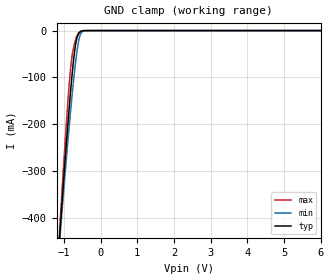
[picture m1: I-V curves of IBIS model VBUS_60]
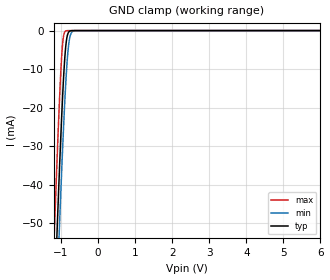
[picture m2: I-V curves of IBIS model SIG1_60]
| TEXAS INSTRUMENTS INCORPORATED
| Standard Linear and Logic Group
| IBIS Model of TPD4S012
| I2C Translator
| This file contains package information for the following:
|  WCSP 6-pin (YFP) package as [Component] TPD4S012_YFP
|  uQFN 6-pin (DRY) package as [Component] TPD4S012_DRY
| This device can be powered at the following Vccs:
|  6 volt Vcc
| This file provides unique models under the [Model Selector] for each Vcc.
| For operation at a specific Vcc, select the appropriate model after each
| [Model Selector] keyword.
[IBIS Ver]   3.2
[Comment char]  |_char
[File Name]   tpd4s012.ibs
[File Rev]   0 | A0
[Date]   April 22, 2010
[Source]   Data created from TI-SPICE simulations at TI-SLL.
[Notes]   The following is an IBIS list for the TPD4S012.
   Please contact sllibis@ti.com with questions and
   comments concerning SLL IBIS models.
   - Release IBIS file on 4/26/10
   - Power-clamp data has been deleted since there is no
   power-clamp diode in the device.
[Disclaimer] This model is designed as an aid for customers of Texas Instruments.
TI and its licensors and suppliers make no warranties, either expressed
or implied, with respect to this  model, including the warranties of.
merchantability or fitness for a particular purpose..
The model is provided solely on an "as is" basis. The entire risk as to
its quality and performance is with the customer..........
[Copyright] (C)Copyright 2009 Texas Instruments Incorporated..
   All rights reserved.
| Component TPD4S012_DCK 6-PIN SOT
[Component]   TPD4S012_YFP
[Manufacturer]   Texas Instruments, Inc.
[Package]
|   typ   min   max
R_pkg   3.998e-02   2.764e-03   3.160e-01
L_pkg   2.482e-10   2.374e-11   9.494e-10
C_pkg   2.295e-13   1.530e-14   4.331e-13
[Pin]   signal_name   model_name   R_pin   L_pin   C_pin
1   DP   SIG1_60   1.300e-03   1.140e-10   1.960e-13
2   DM   SIG1_60   2.100e-03   1.163e-09   2.050e-13
3   ID   SIG1_60   1.100e-03   1.180e-10   1.970e-13
4   GND   GND   1.300e-03   1.140e-10   1.900e-13
5   NC   NC   1.500e-03   1.140e-10   1.670e-13
6   VBUS   VBUS_60   1.200e-03   1.160e-10   1.950e-13
| Component TPD4S012_DRY 6-PIN UQFN
[Component]   TPD4S012_DRY
[Manufacturer]   Texas Instruments, Inc.
[Package]
|   typ   min   max
R_pkg   6.783e-02   1.820e-03   1.019e-01
L_pkg   4.914e-10   1.367e-10   7.364e-10
C_pkg   5.690e-14   3.169e-14   7.636e-14
[Pin]   signal_name   model_name   R_pin   L_pin   C_pin
1   DP   SIG1_60   1.019e-01   7.364e-10   7.636e-14
2   DM   SIG1_60   7.294e-02   4.926e-10   5.607e-14
3   ID   SIG1_60   8.000e-02   5.499e-10   6.062e-14
4   GND   GND   7.179e-02   4.957e-10   5.689e-14
5   NC   NC   1.820e-03   1.367e-10   3.169e-14
6   VBUS   VBUS_60   7.854e-02   5.373e-10   5.976e-14
| Models and submodels in the file (2): VBUS_60 (Input), SIG1_60 (Input)
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| Model VBUS
| Model SIG1
[Model]   VBUS_60
Model_type  Input
Vinl=2
Vinh=4
| variable   typ   min   max
C_comp   11pF   7pF   15pF
[Temperature Range]   40   100   -40
| Ambient temperature   25   85   -40
[Voltage range]   19   18   20
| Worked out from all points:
|   GND clamp passes 1 mA (typ) near -0.51 V on its own axis
[GND Clamp]
| VBUS_60
|   Voltage   I(typ)   I(min)   I(max)
-6V       -7.166A    -6.528A    -7.813A
-1.145V   -474.3mA   -481.1mA   -465.7mA
-1.105V   -428.8mA   -441mA     -413.2mA
-1.065V   -384.1mA   -401.4mA   -361.5mA
-930mV    -239.7mA   -272.7mA   -196.3mA
-810mV    -123.8mA   -166.5mA   -76.06mA
-760mV    -81.61mA   -125.7mA   -46.26mA
-680mV    -29.6mA    -67.43mA   -19.43mA
-605mV    -7.704mA   -25.98mA   -5.637mA
-545mV    -2.294mA   -7.757mA   -1.357mA
-400mV    -62.22uA   -157.7uA   -12.08uA
6V        971.8pA    3.539nA    38.59pA
[Model]   SIG1_60
Model_type  Input
Vinl=2
Vinh=4
| variable   typ   min   max
C_comp   0.8pF   0.6pF   1.0pF
[Temperature Range]   40   100   -40
| Ambient temperature   25   85   -40
[Voltage range]   5   4.5   5.6
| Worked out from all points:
|   GND clamp passes 1 mA (typ) near -0.82 V on its own axis
[GND Clamp]
| SIG1_60
|   Voltage   I(typ)   I(min)   I(max)
-6V       -1.478A    -1.49A     -1.464A
-1.19V    -74.42mA   -89.58mA   -55.62mA
-1.165V   -67.79mA   -82.94mA   -48.99mA
-1.105V   -52.19mA   -67.24mA   -33.57mA
-1.045V   -37.24mA   -52.02mA   -19.26mA
-995mV    -25.58mA   -39.86mA   -9.135mA
-955mV    -17.12mA   -30.65mA   -3.441mA
-910mV    -9.114mA   -21.07mA   -648.6uA
-865mV    -3.616mA   -12.78mA   -86.01uA
-775mV    -232.8uA   -2.519mA   -1.284uA
-650mV    -3.05uA    -82.37uA   -3.669nA
6V        918.8pA    3.429nA    90.9pA
